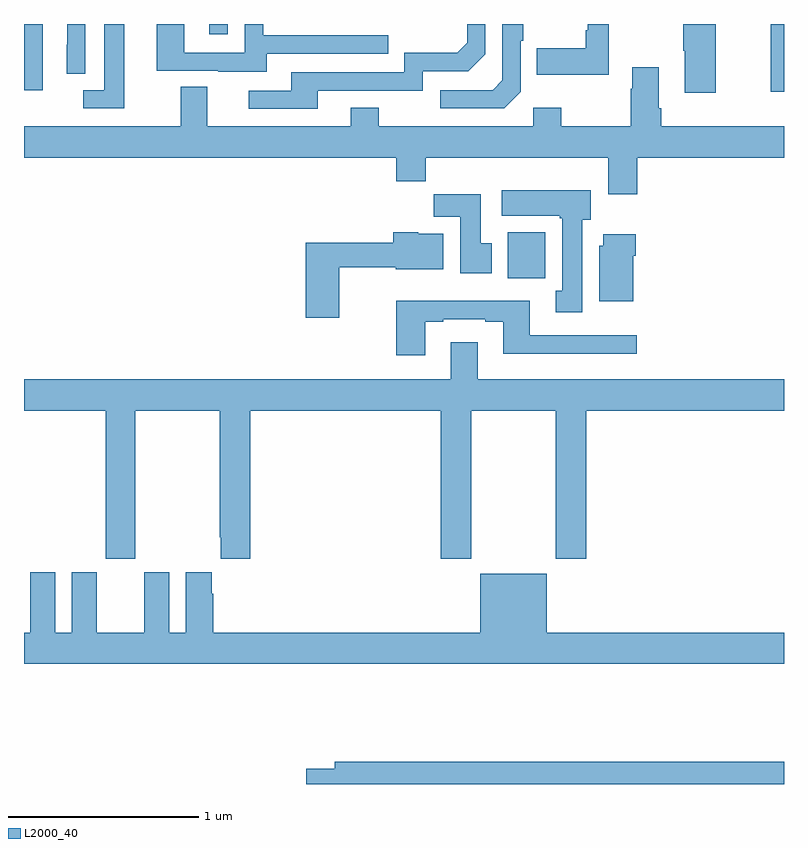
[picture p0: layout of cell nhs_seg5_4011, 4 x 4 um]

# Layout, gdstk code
import gdstk
lib = gdstk.Library(unit=1e-6, precision=1e-09)
def R(c, l, rs):  # rectangles x0, y0, x1, y1
    for r in rs: c.add(gdstk.rectangle(r[:2], r[2:], *l))
def P(c, l, *ps):  # polygons
    for p in ps: c.add(gdstk.Polygon(p, *l))
L2000_40 = (2000, 40)

nhs_seg5_4011 = lib.new_cell('nhs_seg5_4011')
R(nhs_seg5_4011, L2000_40, [(349.547,853.46,349.744,853.702), (350.929,854.442,351,854.799), (347,854.45,347.098,854.799), (347.975,854.745,348.072,854.799)])
P(nhs_seg5_4011, L2000_40, [(348.277,854.643),(348.917,854.643),(348.917,854.739),(348.258,854.739),(348.258,854.799),(348.162,854.799),(348.162,854.649),(347.844,854.649),(347.844,854.799),(347.699,854.799),(347.699,854.553),(348.023,854.553),(348.023,854.549),(348.277,854.549)],
  [(348.547,854.448),(349.098,854.448),(349.098,854.55),(349.338,854.55),(349.428,854.64),(349.428,854.799),(349.332,854.799),(349.332,854.7),(349.279,854.647),(349.002,854.647),(349.002,854.544),(348.407,854.544),(348.407,854.448),(348.183,854.448),(348.183,854.352),(348.547,854.352)],
  [(347.322,854.799),(347.228,854.799),(347.228,854.69),(347.226,854.69),(347.226,854.536),(347.322,854.536)],
  [(347.527,854.799),(347.423,854.799),(347.423,854.451),(347.313,854.451),(347.313,854.355),(347.527,854.355)],
  [(350.64,854.799),(350.47,854.799),(350.47,854.659),(350.477,854.659),(350.477,854.436),(350.64,854.436)],
  [(350.077,854.799),(349.968,854.799),(349.968,854.767),(349.956,854.767),(349.956,854.671),(349.699,854.671),(349.699,854.531),(350.077,854.531)],
  [(349.614,854.442),(349.614,854.711),(349.627,854.711),(349.627,854.799),(349.518,854.799),(349.518,854.502),(349.467,854.451),(349.191,854.451),(349.191,854.355),(349.527,854.355)],
  [(350.228,854.096),(351,854.096),(351,854.26),(350.354,854.26),(350.354,854.356),(350.341,854.356),(350.341,854.572),(350.201,854.572),(350.201,854.459),(350.194,854.459),(350.194,854.26),(349.827,854.26),(349.827,854.359),(349.68,854.359),(349.68,854.26),(348.867,854.26),(348.867,854.359),(348.719,854.359),(348.719,854.26),(347.965,854.26),(347.965,854.468),(347.825,854.468),(347.825,854.26),(347,854.26),(347,854.096),(348.959,854.096),(348.959,853.972),(349.115,853.972),(349.115,854.096),(350.075,854.096),(350.075,853.902),(350.228,853.902)],
  [(349.939,853.77),(349.984,853.77),(349.984,853.924),(349.515,853.924),(349.515,853.79),(349.819,853.79),(349.819,853.777),(349.832,853.777),(349.832,853.394),(349.799,853.394),(349.799,853.281),(349.939,853.281)],
  [(349.462,853.644),(349.405,853.644),(349.405,853.903),(349.156,853.903),(349.156,853.784),(349.295,853.784),(349.295,853.488),(349.462,853.488)],
  [(348.66,853.519),(348.956,853.519),(348.956,853.508),(349.207,853.508),(349.207,853.696),(349.074,853.696),(349.074,853.702),(348.944,853.702),(348.944,853.648),(348.482,853.648),(348.482,853.254),(348.66,853.254)],
  [(350.206,853.58),(350.219,853.58),(350.219,853.693),(350.048,853.693),(350.048,853.632),(350.027,853.632),(350.027,853.34),(350.206,853.34)],
  [(349.111,853.233),(349.207,853.233),(349.207,853.245),(349.427,853.245),(349.427,853.233),(349.523,853.233),(349.523,853.064),(350.224,853.064),(350.224,853.161),(349.663,853.161),(349.663,853.342),(348.959,853.342),(348.959,853.056),(349.111,853.056)],
  [(347.586,852.764),(348.031,852.764),(348.031,852.097),(348.035,852.097),(348.035,851.985),(348.191,851.985),(348.191,852.764),(349.193,852.764),(349.193,851.985),(349.353,851.985),(349.353,852.764),(349.798,852.764),(349.798,851.985),(349.958,851.985),(349.958,852.764),(351,852.764),(351,852.928),(349.387,852.928),(349.387,853.123),(349.247,853.123),(349.247,852.928),(347,852.928),(347,852.764),(347.431,852.764),(347.431,851.985),(347.586,851.985)],
  [(351,851.596),(349.75,851.596),(349.75,851.905),(349.4,851.905),(349.4,851.596),(347.996,851.596),(347.996,851.801),(347.989,851.801),(347.989,851.914),(347.852,851.914),(347.852,851.596),(347.764,851.596),(347.764,851.914),(347.633,851.914),(347.633,851.596),(347.383,851.596),(347.383,851.914),(347.252,851.914),(347.252,851.596),(347.164,851.596),(347.164,851.914),(347.033,851.914),(347.033,851.596),(347,851.596),(347,851.432),(351,851.432)],
  [(351,850.916),(348.635,850.916),(348.635,850.88),(348.486,850.88),(348.486,850.799),(351,850.799)])

lib.write_gds('nhs_seg5_4011.gds')
